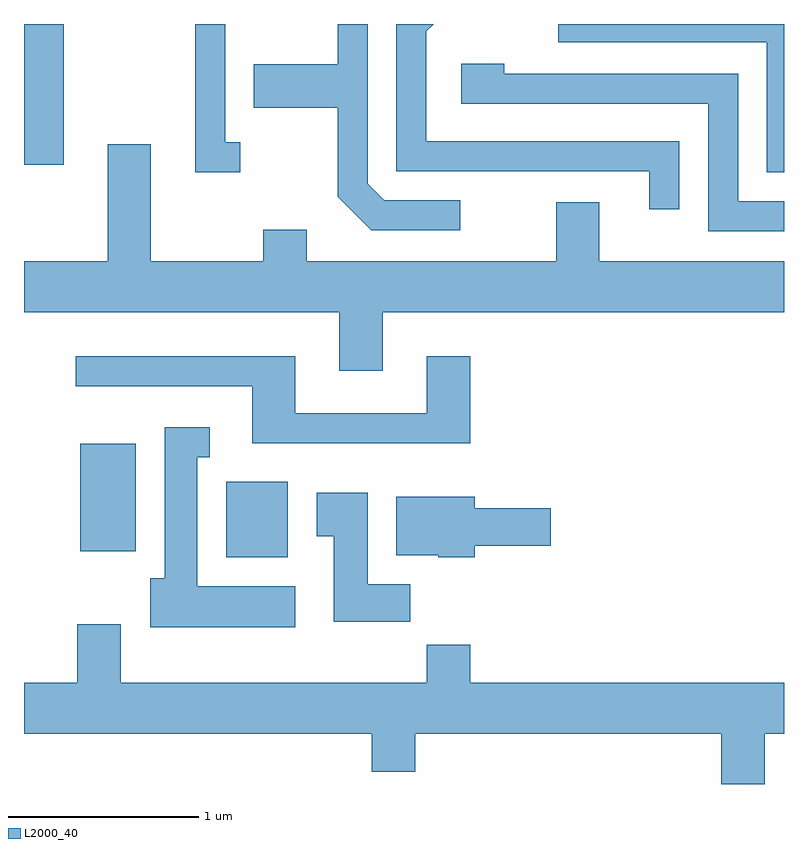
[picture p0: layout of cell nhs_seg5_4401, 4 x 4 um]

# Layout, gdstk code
import gdstk
lib = gdstk.Library(unit=1e-6, precision=1e-09)
def R(c, l, rs):  # rectangles x0, y0, x1, y1
    for r in rs: c.add(gdstk.rectangle(r[:2], r[2:], *l))
def P(c, l, *ps):  # polygons
    for p in ps: c.add(gdstk.Polygon(p, *l))
L2000_40 = (2000, 40)

nhs_seg5_4401 = lib.new_cell('nhs_seg5_4401')
R(nhs_seg5_4401, L2000_40, [(316.676,1473.266,316.999,1473.664), (315.906,1473.296,316.199,1473.864), (315.611,1475.331,315.819,1476.072)])
P(nhs_seg5_4401, L2000_40, [(317.908,1475.144),(317.507,1475.144),(317.419,1475.232),(317.419,1476.072),(317.261,1476.072),(317.261,1475.859),(316.821,1475.859),(316.821,1475.631),(317.261,1475.631),(317.261,1475.164),(317.439,1474.986),(317.908,1474.986)],
  [(319.059,1475.454),(317.729,1475.454),(317.729,1476.034),(317.767,1476.072),(317.571,1476.072),(317.571,1475.296),(318.901,1475.296),(318.901,1475.098),(319.059,1475.098)],
  [(316.748,1475.449),(316.669,1475.449),(316.669,1476.072),(316.511,1476.072),(316.511,1475.291),(316.748,1475.291)],
  [(319.611,1476.072),(318.423,1476.072),(318.423,1475.976),(319.521,1475.976),(319.521,1475.291),(319.611,1475.291)],
  [(319.611,1475.139),(319.369,1475.139),(319.369,1475.809),(318.139,1475.809),(318.139,1475.864),(317.911,1475.864),(317.911,1475.651),(319.211,1475.651),(319.211,1474.981),(319.611,1474.981)],
  [(317.499,1474.556),(319.611,1474.556),(319.611,1474.824),(318.639,1474.824),(318.639,1475.134),(318.411,1475.134),(318.411,1474.824),(317.099,1474.824),(317.099,1474.989),(316.871,1474.989),(316.871,1474.824),(316.279,1474.824),(316.279,1475.439),(316.051,1475.439),(316.051,1474.824),(315.611,1474.824),(315.611,1474.556),(317.271,1474.556),(317.271,1474.246),(317.499,1474.246)],
  [(317.959,1474.324),(317.731,1474.324),(317.731,1474.024),(317.039,1474.024),(317.039,1474.324),(315.883,1474.324),(315.883,1474.166),(316.811,1474.166),(316.811,1473.866),(317.959,1473.866)],
  [(317.039,1473.114),(316.524,1473.114),(316.524,1473.791),(316.588,1473.791),(316.588,1473.949),(316.351,1473.949),(316.351,1473.154),(316.276,1473.154),(316.276,1472.896),(317.039,1472.896)],
  [(317.644,1473.124),(317.419,1473.124),(317.419,1473.604),(317.151,1473.604),(317.151,1473.376),(317.241,1473.376),(317.241,1472.926),(317.644,1472.926)],
  [(317.984,1473.326),(318.384,1473.326),(318.384,1473.524),(317.984,1473.524),(317.984,1473.584),(317.571,1473.584),(317.571,1473.276),(317.79,1473.276),(317.79,1473.266),(317.984,1473.266)],
  [(319.509,1472.336),(319.611,1472.336),(319.611,1472.604),(317.959,1472.604),(317.959,1472.804),(317.731,1472.804),(317.731,1472.604),(316.119,1472.604),(316.119,1472.914),(315.891,1472.914),(315.891,1472.604),(315.611,1472.604),(315.611,1472.336),(317.441,1472.336),(317.441,1472.136),(317.669,1472.136),(317.669,1472.336),(319.281,1472.336),(319.281,1472.072),(319.509,1472.072)])

lib.write_gds('nhs_seg5_4401.gds')
